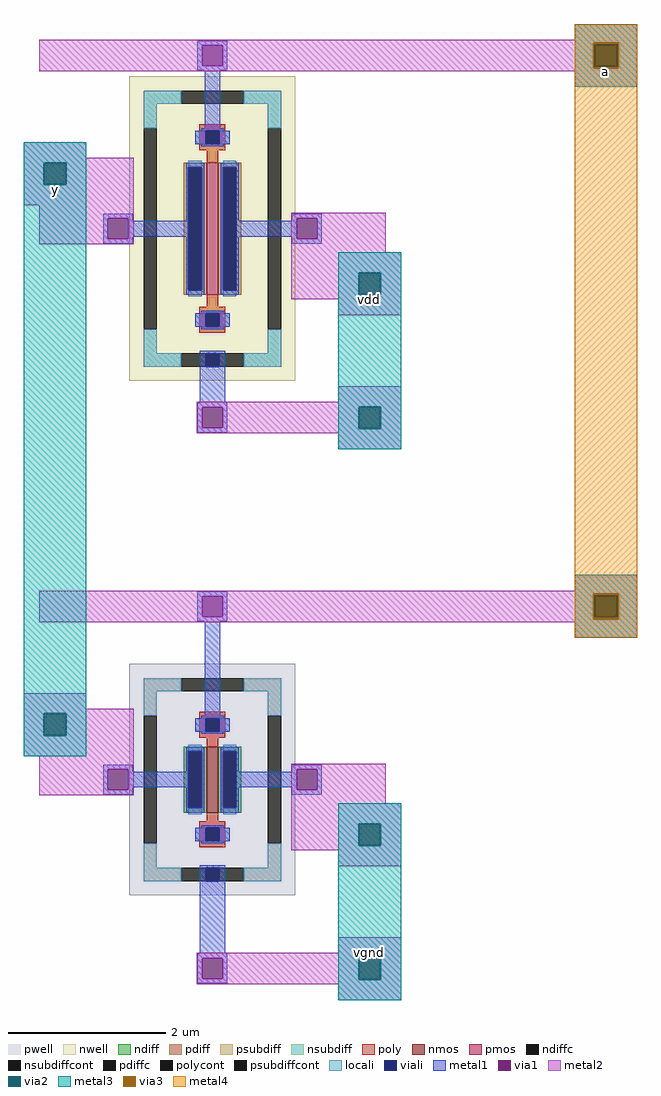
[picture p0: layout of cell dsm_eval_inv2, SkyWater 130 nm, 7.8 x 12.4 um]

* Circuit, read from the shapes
.subckt dsm_eval_inv2 a y vdd vgnd
XM1 vgnd a y vgnd sky130_fd_pr__nfet_01v8 w=0.84 l=0.15
XM2 vdd a y vdd sky130_fd_pr__pfet_01v8 w=1.68 l=0.15
.ends

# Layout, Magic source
magic
tech sky130A
<< metal2 >>
rect 1010 1490 1090 1510
rect 350 1484 1090 1490
rect 350 1456 1036 1484
rect 1064 1456 1090 1484
rect 350 1450 1090 1456
rect 1010 1430 1090 1450
rect 310 1334 390 1360
rect 310 1306 336 1334
rect 364 1306 390 1334
rect 310 1280 390 1306
rect 710 1194 790 1220
rect 710 1166 736 1194
rect 764 1166 790 1194
rect 710 1140 790 1166
rect 710 1024 790 1050
rect 710 996 736 1024
rect 764 996 790 1024
rect 710 970 790 996
rect 1010 790 1090 810
rect 350 784 1090 790
rect 350 756 1036 784
rect 1064 756 1090 784
rect 350 750 1090 756
rect 1010 730 1090 750
rect 310 634 390 660
rect 310 606 336 634
rect 364 606 390 634
rect 310 580 390 606
rect 710 494 790 520
rect 710 466 736 494
rect 764 466 790 494
rect 710 440 790 466
rect 710 324 790 350
rect 710 296 736 324
rect 764 296 790 324
rect 710 270 790 296
<< via2 >>
rect 1036 1456 1064 1484
rect 336 1306 364 1334
rect 736 1166 764 1194
rect 736 996 764 1024
rect 1036 756 1064 784
rect 336 606 364 634
rect 736 466 764 494
rect 736 296 764 324
<< metal3 >>
rect 1010 1486 1090 1510
rect 1010 1454 1034 1486
rect 1066 1454 1090 1486
rect 1010 1430 1090 1454
rect 310 1334 390 1360
rect 310 1306 336 1334
rect 364 1306 390 1334
rect 310 634 390 1306
rect 710 1194 790 1220
rect 710 1166 736 1194
rect 764 1166 790 1194
rect 710 1024 790 1166
rect 710 996 736 1024
rect 764 996 790 1024
rect 710 970 790 996
rect 1010 786 1090 810
rect 1010 754 1034 786
rect 1066 754 1090 786
rect 1010 730 1090 754
rect 310 606 336 634
rect 364 606 390 634
rect 310 580 390 606
rect 710 494 790 520
rect 710 466 736 494
rect 764 466 790 494
rect 710 324 790 466
rect 710 296 736 324
rect 764 296 790 324
rect 710 270 790 296
<< via3 >>
rect 1034 1484 1066 1486
rect 1034 1456 1036 1484
rect 1036 1456 1064 1484
rect 1064 1456 1066 1484
rect 1034 1454 1066 1456
rect 1034 784 1066 786
rect 1034 756 1036 784
rect 1036 756 1064 784
rect 1064 756 1066 784
rect 1034 754 1066 756
<< metal4 >>
rect 1010 1486 1090 1510
rect 1010 1454 1034 1486
rect 1066 1454 1090 1486
rect 1010 786 1090 1454
rect 1010 754 1034 786
rect 1066 754 1090 786
rect 1010 730 1090 754
use dsm_eval_inv2_n_device  XNI
transform 1 0 550 0 1 550
box -220 -260 220 240
use dsm_eval_inv2_p_device  XPI
transform 1 0 550 0 1 1250
box -220 -260 220 240
<< labels >>
rlabel metal4 1010 1430 1090 1470 0 a
port 1 nsew
rlabel metal3 310 1280 390 1320 0 y
port 2 nsew
rlabel metal3 710 1140 790 1180 0 vdd
port 3 nsew
rlabel metal3 710 310 790 350 0 vgnd
port 4 nsew
<< properties >>
string FIXED_BBOX -600 -600 2600 3800
<< end >>

# cell dsm_eval_inv2_n_device: kit device sky130_fd_pr__nfet_01v8, w 0.84 l 0.15 m 1 nf 1 diffcov 100 polycov 100 guard 1 glc 1 grc 1 gtc 1 gbc 1 tbcov 100 rlcov 100 topc 1 botc 1 poverlap 0 doverlap 1 lmin 0.15 wmin 0.42 class mosfet compatible {sky130_fd_pr__nfet_01v8 sky130_fd_pr__nfet_01v8_lvt sky130_fd_bs_flash__special_sonosfet_star sky130_fd_pr__nfet_g5v0d10v5 sky130_fd_pr__nfet_05v0_nvt sky130_fd_pr__nfet_03v3_nvt} full_metal 1 conn_gates 1 viasrc 100 viadrn 100 viagate 100 viagb 0 viagr 0 viagl 0 viagt 0 doports 1

# cell dsm_eval_inv2_p_device: kit device sky130_fd_pr__pfet_01v8, w 1.68 l 0.15 m 1 nf 1 diffcov 100 polycov 100 guard 1 glc 1 grc 1 gtc 1 gbc 1 tbcov 100 rlcov 100 topc 1 botc 1 poverlap 0 doverlap 1 lmin 0.15 wmin 0.42 class mosfet compatible {sky130_fd_pr__pfet_01v8 sky130_fd_pr__pfet_01v8_lvt sky130_fd_pr__pfet_01v8_hvt sky130_fd_pr__pfet_g5v0d10v5} full_metal 1 conn_gates 1 viasrc 100 viadrn 100 viagate 100 viagb 0 viagr 0 viagl 0 viagt 0 doports 1
